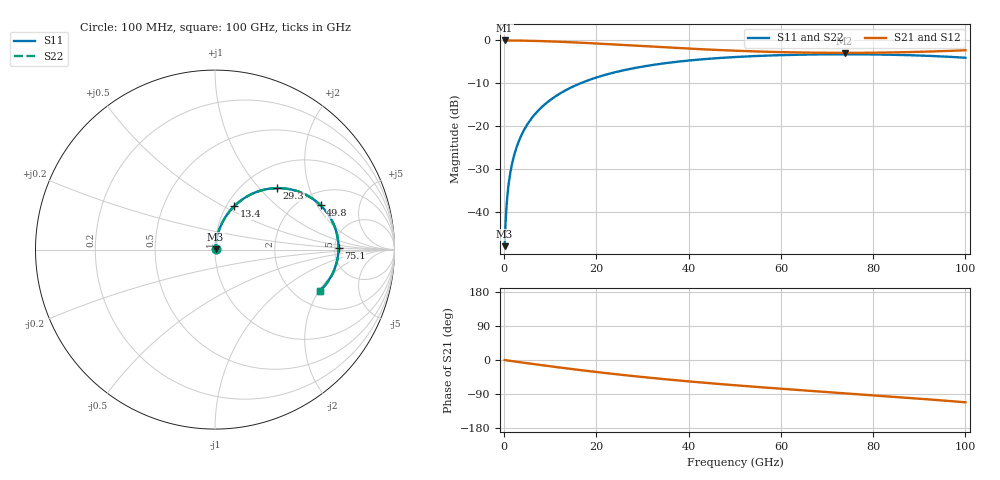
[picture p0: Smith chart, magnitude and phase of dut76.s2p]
! Touchstone file exported from HFSS 2026.1.0
!  File:  C:/ffzhzh/LocalFiles/Ansys_Project_Files/temp_train_RDL_76_1783498712_44152.aedt
!  Generated:  04:19:37 PM Jul  8, 2026
!  Design:  RDL
!  Project:  temp_train_RDL_76_1783498712_44152
! Variables:
!  h_bsmrdl = 2um
!  h_ox = 20um
!  h_rdl = 5um
!  h_sub = 80um
!  h_tmrdl = 3.45um
!  h_tsv = 80um
!  h_via = 3um
!  l_bsmrdl = 300um
!  l_sub = 789.73um
!  l_tmrdl = 389.73um
!  m_sub = 200um
!  pitch = 45.62um
!  r_tsv = 6um
!  s_tmrdl = 10um
!  w_bsmrdl = 18um
!  w_sub = 500um
!  w_tmrdl = 12.11um
!  x_tsv_center1 = 395.785um
!  x_tsv_center2 = 713.785um
!  x_tsv_center3 = 1115.625um
!  x_tsv_center4 = 1433.625um
!  x_tsv_center5 = 1835.465um
!  x_tsv_center6 = 2153.465um
# GHz S MA R 50.000000
! Terminal data exported
! Port[1] = TM_RDL1_1_T1
! Port[2] = TM_RDL1_1_T2
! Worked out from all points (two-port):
!   1000 points, 100 MHz to 100 GHz, reference 50 ohm
!   highest |S21| = -0.03 dB at 100 MHz (marker M1); lowest = -2.9 dB at 73.8 GHz (marker M2)
!   |S21| within 3 dB of the highest: start of sweep to end of sweep
!   lowest |S11| = -47.9 dB at 100 MHz (marker M3), VSWR 1.01, Z = 50.3 + j0.222 ohm
!   |S11| at or under -10 dB: start of sweep to 16.52 GHz
!   |S22| runs from -47.9 to -3.2 dB; largest |S21 - S12| = 1.4e-14
!   S11 on the Smith chart (normalised r, x): 100 MHz: 1.01, +0.00; 13.4 GHz: 1.09, +0.56; 29.3 GHz: 1.40, +1.26; 49.8 GHz: 2.57, +2.14; 75.1 GHz: 5.41, +0.15; 100 GHz: 2.68, -2.03
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0.1  0.00405 33.0  0.9966 -0.2  0.9966 -0.2  0.00405 33.0
! Gamma 0 0 0 0
! Port Impedance 50 0 50 0
0.4  0.009456 67.2  0.9964 -0.7  0.9964 -0.7  0.009456 67.2
0.9  0.01974 77.3  0.996 -1.6  0.996 -1.6  0.01974 77.3
1.4  0.03014 80.0  0.9956 -2.4  0.9956 -2.4  0.03014 80.0
1.8  0.0385 80.8  0.9952 -3.1  0.9952 -3.1  0.0385 80.8
2.3  0.04895 81.1  0.9946 -3.9  0.9946 -3.9  0.04895 81.1
3.5  0.07393 80.4  0.9926 -6.0  0.9926 -6.0  0.07393 80.4
5.2  0.1088 78.4  0.9887 -8.8  0.9887 -8.8  0.1088 78.4
7.4  0.1527 75.2  0.9819 -12.4  0.9819 -12.4  0.1527 75.2
10.1  0.2044 71.1  0.9713 -16.8  0.9713 -16.8  0.2045 71.1
13.4  0.264 66.2  0.9557 -21.9  0.9557 -21.9  0.264 66.1
16.8  0.3207 61.2  0.9373 -27.1  0.9373 -27.1  0.3207 61.2
22.5  0.405 53.3  0.9034 -35.2  0.9034 -35.2  0.405 53.3
29.3  0.4877 44.7  0.8615 -44.0  0.8615 -44.0  0.4877 44.6
33.4  0.5287 39.8  0.8372 -49.0  0.8372 -49.0  0.5287 39.7
49.8  0.6382 22.7  0.7586 -66.4  0.7586 -66.4  0.6382 22.6
50.1  0.6395 22.5  0.7575 -66.7  0.7575 -66.7  0.6395 22.3
66.7  0.6842 7.7  0.7187 -81.7  0.7187 -81.7  0.6842 7.5
73.8  0.6883 1.7  0.7149 -87.8  0.7149 -87.8  0.6884 1.5
75.1  0.6882 0.6  0.7151 -88.9  0.7151 -88.9  0.6883 0.4
83.4  0.6807 -6.4  0.722 -96.1  0.722 -96.1  0.6808 -6.7
100  0.6271 -21.5  0.7671 -111.6  0.7671 -111.6  0.6272 -21.8
